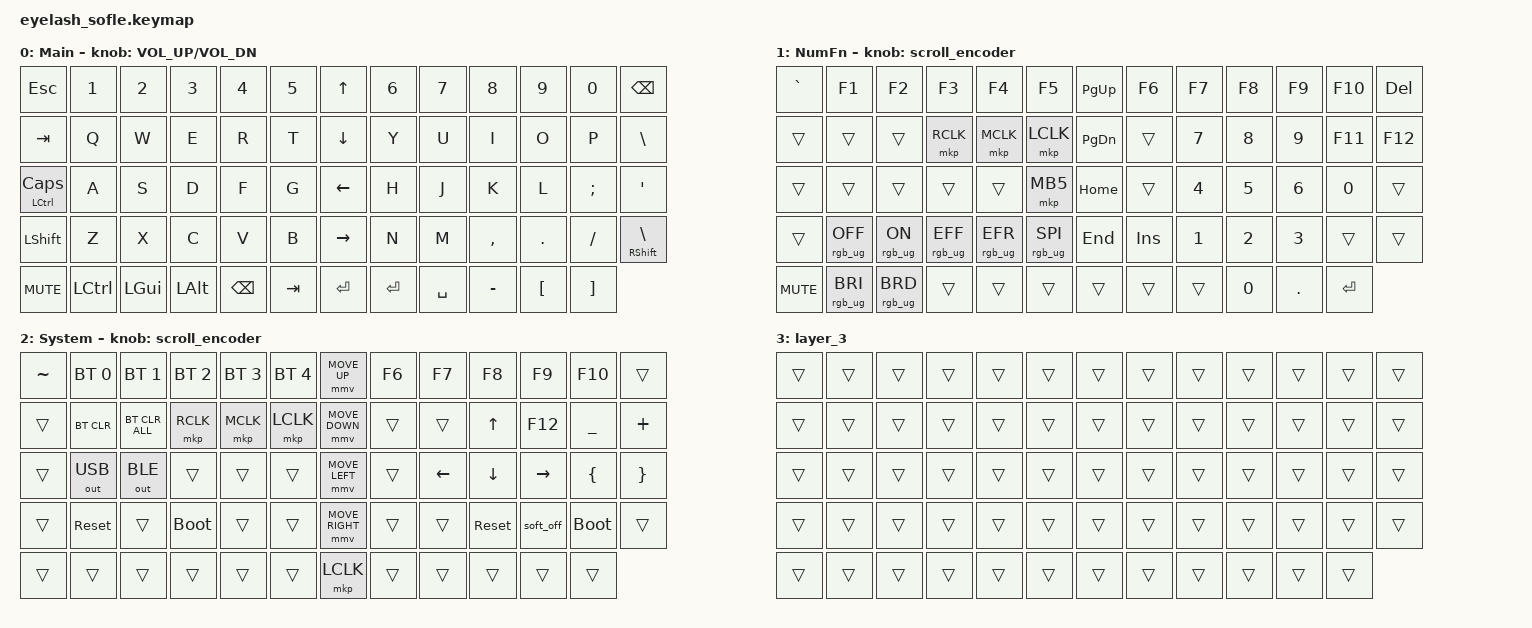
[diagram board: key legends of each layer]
#define ZMK_POINTING_DEFAULT_MOVE_VAL 1200  // 600
#define ZMK_POINTING_DEFAULT_SCRL_VAL 25   // 10

#include <input/processors.dtsi>
#include <zephyr/dt-bindings/input/input-event-codes.h>
#include <behaviors.dtsi>
#include <dt-bindings/zmk/bt.h>
#include <dt-bindings/zmk/keys.h>
#include <dt-bindings/zmk/outputs.h>
#include <dt-bindings/zmk/pointing.h>
#include <dt-bindings/zmk/rgb.h>

&mmv_input_listener { input-processors = <&zip_xy_scaler 2 1>; };

&msc_input_listener { input-processors = <&zip_scroll_scaler 2 1>; };

&msc {
    acceleration-exponent = <1>;      // 0
    time-to-max-speed-ms = <100>;       // 300
    delay-ms = <0>;                   // 0
};

&mmv {
    time-to-max-speed-ms = <500>;
    acceleration-exponent = <1>;
    trigger-period-ms = <16>;
};

/ {
    scroll_encoder: scroll_encoder {
        compatible = "zmk,behavior-sensor-rotate";
        #sensor-binding-cells = <0>;
        bindings = <&msc SCRL_DOWN>, <&msc SCRL_UP>;

        tap-ms = <100>;
    };

    behaviors {
    };

    keymap {
        compatible = "zmk,keymap";

        layer0 {
            bindings = <
&kp ESCAPE          &kp N1     &kp N2        &kp N3        &kp N4         &kp N5     &kp UP_ARROW     &kp N6     &kp N7     &kp N8     &kp N9    &kp N0    &kp BACKSPACE
&kp TAB             &kp Q      &kp W         &kp E         &kp R          &kp T      &kp DOWN_ARROW   &kp Y      &kp U      &kp I      &kp O     &kp P     &kp BSLH
&mt LCTRL CAPSLOCK  &kp A      &kp S         &kp D         &kp F          &kp G      &kp LEFT_ARROW   &kp H      &kp J      &kp K      &kp L     &kp SEMI  &kp SQT
&kp LSHFT           &kp Z      &kp X         &kp C         &kp V          &kp B      &kp RIGHT_ARROW  &kp N      &kp M      &kp COMMA  &kp DOT   &kp FSLH  &mt RSHIFT BSLH
&kp C_MUTE          &kp LCTRL  &kp LEFT_GUI  &kp LEFT_ALT  &kp BACKSPACE  &kp TAB    &kp ENTER        &kp ENTER  &kp SPACE  &kp MINUS  &kp LBKT  &kp RBKT
            >;

            sensor-bindings = <&inc_dec_kp C_VOLUME_UP C_VOL_DN>;
            display-name = "Main";
        };

        layer_1 {
            bindings = <
&kp GRAVE   &kp F1           &kp F2           &kp F3           &kp F4           &kp F5             &kp PG_UP  &kp F6   &kp F7  &kp F8  &kp F9   &kp F10    &kp DELETE
&trans      &trans           &trans           &mkp RCLK        &mkp MCLK        &mkp LCLK          &kp PG_DN  &trans   &kp N7  &kp N8  &kp N9   &kp F11    &kp F12
&trans      &trans           &trans           &trans           &trans           &mkp MB5           &kp HOME   &trans   &kp N4  &kp N5  &kp N6   &kp N0     &trans
&trans      &rgb_ug RGB_OFF  &rgb_ug RGB_ON   &rgb_ug RGB_EFF  &rgb_ug RGB_EFR  &rgb_ug RGB_SPI    &kp END    &kp INS  &kp N1  &kp N2  &kp N3   &trans     &trans
&kp C_MUTE  &rgb_ug RGB_BRI  &rgb_ug RGB_BRD  &trans           &trans           &trans             &trans     &trans   &trans  &kp N0  &kp DOT  &kp ENTER
            >;

            display-name = "NumFn";
            sensor-bindings = <&scroll_encoder>;
        };

        layer_2 {
            bindings = <
&kp TILDE  &bt BT_SEL 0  &bt BT_SEL 1    &bt BT_SEL 2  &bt BT_SEL 3  &bt BT_SEL 4    &mmv MOVE_UP     &kp F6  &kp F7          &kp F8          &kp F9           &kp F10      &trans
&trans     &bt BT_CLR    &bt BT_CLR_ALL  &mkp RCLK     &mkp MCLK     &mkp LCLK       &mmv MOVE_DOWN   &trans  &trans          &kp UP_ARROW    &kp F12          &kp UNDER    &kp PLUS
&trans     &out OUT_USB  &out OUT_BLE    &trans        &trans        &trans          &mmv MOVE_LEFT   &trans  &kp LEFT_ARROW  &kp DOWN_ARROW  &kp RIGHT_ARROW  &kp LBRC     &kp RBRC
&trans     &sys_reset    &trans          &bootloader   &trans        &trans          &mmv MOVE_RIGHT  &trans  &trans          &sys_reset      &soft_off        &bootloader  &trans
&trans     &trans        &trans          &trans        &trans        &trans          &mkp LCLK        &trans  &trans          &trans          &trans           &trans
            >;

            display-name = "System";
            sensor-bindings = <&scroll_encoder>;
        };

        layer_3 {
            bindings = <
&trans  &trans  &trans  &trans  &trans  &trans    &trans  &trans  &trans  &trans  &trans  &trans  &trans
&trans  &trans  &trans  &trans  &trans  &trans    &trans  &trans  &trans  &trans  &trans  &trans  &trans
&trans  &trans  &trans  &trans  &trans  &trans    &trans  &trans  &trans  &trans  &trans  &trans  &trans
&trans  &trans  &trans  &trans  &trans  &trans    &trans  &trans  &trans  &trans  &trans  &trans  &trans
&trans  &trans  &trans  &trans  &trans  &trans    &trans  &trans  &trans  &trans  &trans  &trans
            >;
        };
    };
};
